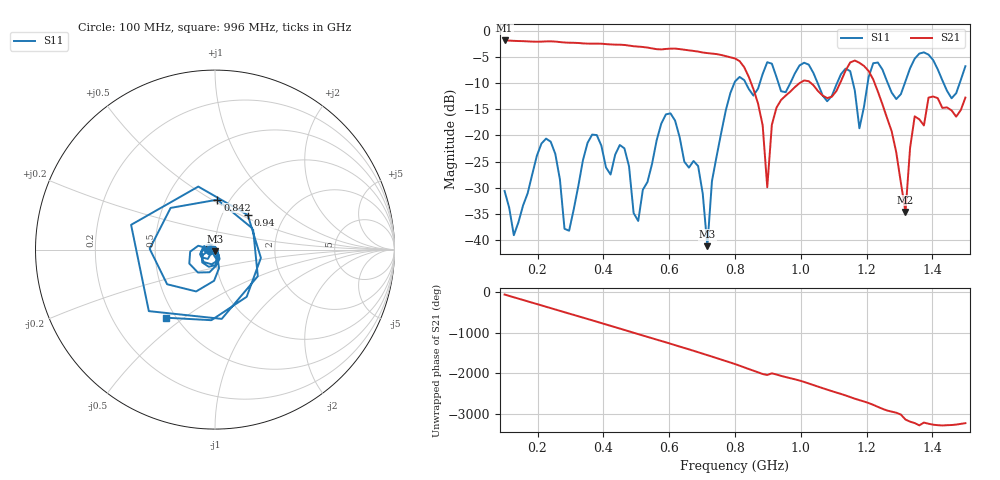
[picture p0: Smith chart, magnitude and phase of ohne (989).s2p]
! NanoVNA-App
! Date: 2025-09-25 14:28:30
! Start: 100MHz Stop: 1,5GHz Points: 101
! S-Parameter data: F S11 S21 S12 S22
# Hz S RI R 50
!  Frequency  S11_Real  S11_Imag  S21_Real  S21_Imag  S12_Real  S12_Imag  S22_Real  S22_Imag
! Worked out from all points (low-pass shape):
!   101 points, 100 MHz to 1.5 GHz, reference 50 ohm
!   highest |S21| = -1.79 dB at 100 MHz (marker M1); lowest = -34.7 dB at 1.318 GHz (marker M2)
!   |S21| within 3 dB of the highest: start of sweep to 771.9 MHz
!   lowest |S11| = -41.2 dB at 716 MHz (marker M3), VSWR 1.02, Z = 49.8 - j0.855 ohm
!   |S11| at or under -10 dB: start of sweep to 797.8 MHz; 833 MHz to 875.1 MHz (42.16 MHz wide, 4.94 % of centre); 1.051 GHz to 1.11 GHz (58.5 MHz wide, 5.41 % of centre) (the widest 3 of 7)
!   S12 and S22 are empty: the file has one direction only
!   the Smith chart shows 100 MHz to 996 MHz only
!   S11 on the Smith chart (normalised r, x): 100 MHz: 0.94, -0.01; 842 MHz: 0.88, +0.53; 940 MHz: 1.32, +0.55; 996 MHz: 0.44, -0.43
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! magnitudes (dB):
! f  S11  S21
! 100 MHz  -30.6  -1.8
! 128 MHz  -39.1  -1.9
! 226 MHz  -20.6  -2.0
! 296 MHz  -38.2  -2.2
! 338 MHz  -24.7  -2.4
! 464 MHz  -22.5  -2.7
! 506 MHz  -36.4  -3.0
! 576 MHz  -17.7  -3.5
! 688 MHz  -25.9  -3.9
! 716 MHz  -41.2  -4.2
! 800 MHz  -9.6  -5.2
! 842 MHz  -11.1  -8.8
! 898 MHz  -6.0  -29.9
! 940 MHz  -11.5  -13.2
! 996 MHz  -6.6  -10.0
! 1.038 GHz  -8.0  -10.4
! 1.178 GHz  -18.6  -6.1
! 1.22 GHz  -6.2  -9.3
! 1.276 GHz  -11.8  -19.2
! 1.318 GHz  -9.6  -34.7
! 1.346 GHz  -5.3  -16.3
! 1.5 GHz  -6.7  -12.7
